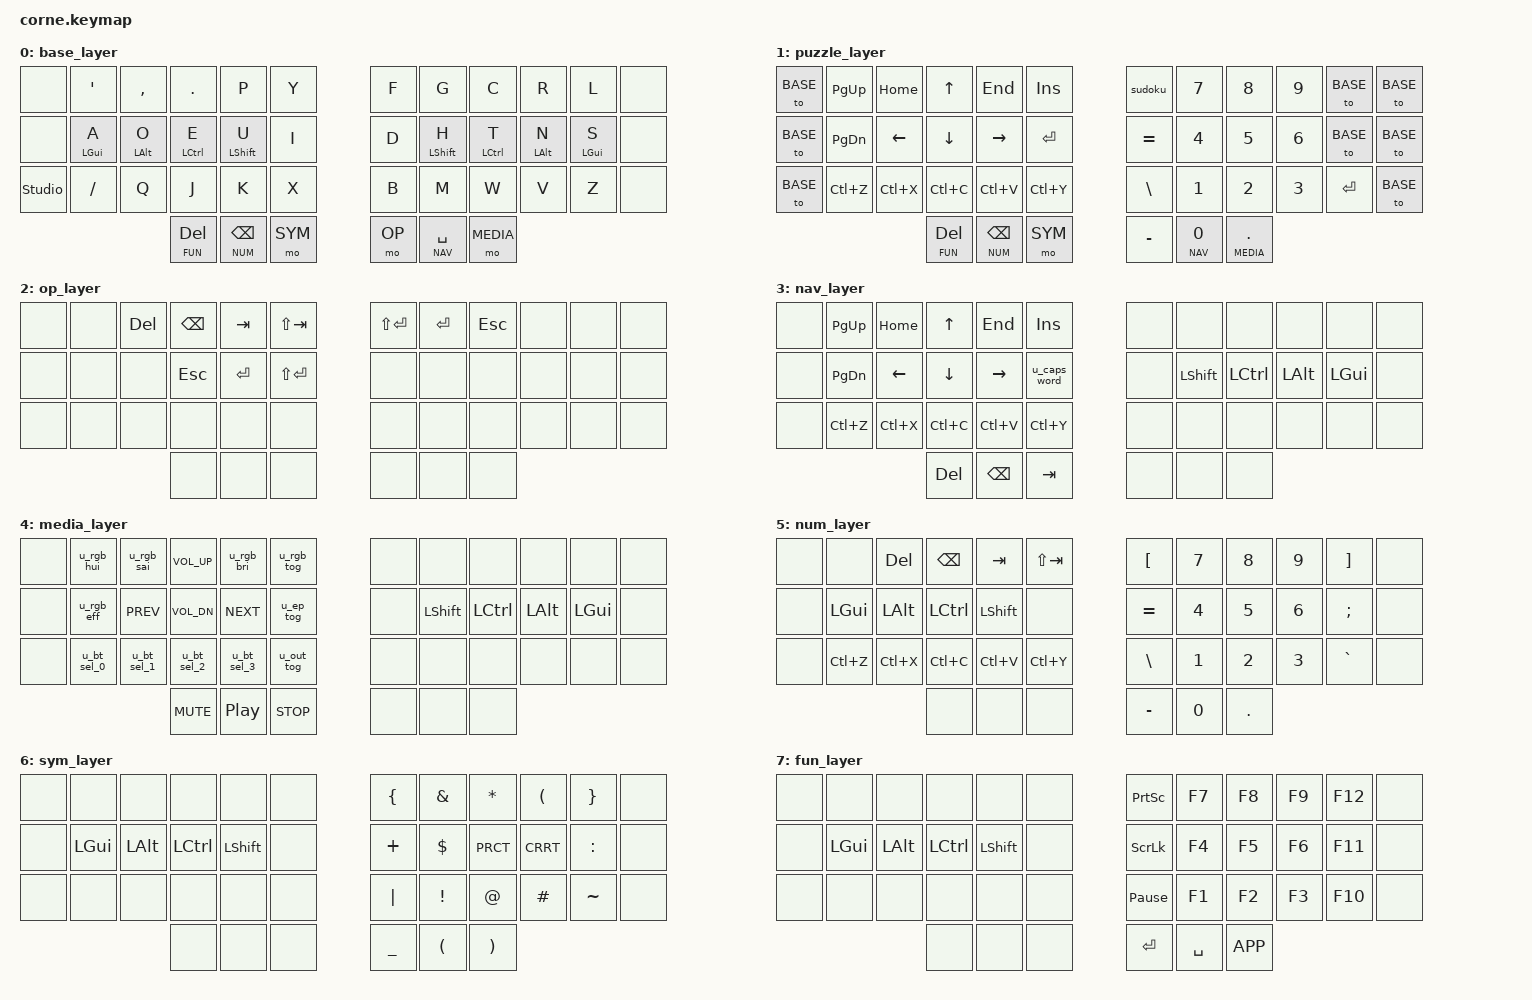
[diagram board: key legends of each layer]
#include <behaviors.dtsi>
#include <dt-bindings/zmk/keys.h>
#include <dt-bindings/zmk/bt.h>
#include <dt-bindings/zmk/rgb.h>
#include <dt-bindings/zmk/outputs.h>
#include <dt-bindings/zmk/ext_power.h>

#include "zmk-helpers/helper.h"
#include "zmk-helpers/key-labels/42.h"

/* layer and key shortcuts */

#define __ &none

#define BASE 0  // layer shortcuts, must match order in which they are defined below
#define PUZZLE 1
#define OP 2
#define NAV 3
#define MEDIA 4
#define NUM 5
#define SYM 6
#define FUN 7

/* custom behaviors */

#define KEYS_L LT0 LT1 LT2 LT3 LT4 LM0 LM1 LM2 LM3 LM4 LB0 LB1 LB2 LB3 LB4  // left-hand keys
#define KEYS_R RT0 RT1 RT2 RT3 RT4 RM0 RM1 RM2 RM3 RM4 RB0 RB1 RB2 RB3 RB4  // right-hand keys
#define THUMBS LH2 LH1 LH0 RH0 RH1 RH2                                      // thumb keys

#define MAKE_HRM(NAME, TRIGGER_POS, TAP_TERM) \
    ZMK_BEHAVIOR(NAME, hold_tap, \
        flavor = "balanced"; \
        tapping-term-ms = <TAP_TERM>; \
        require-prior-idle-ms = <150>; \
        bindings = <&kp>, <&kp>; \
        hold-trigger-key-positions = <TRIGGER_POS>; \
        hold-trigger-on-release; \
    )

MAKE_HRM(hml, KEYS_R THUMBS, 280)  // left-hand HRMs
MAKE_HRM(hmr, KEYS_L THUMBS, 280)  // right-hand HRMs
MAKE_HRM(hmlp, KEYS_R THUMBS, 320)  // left-hand pinky HRMs
MAKE_HRM(hmrp, KEYS_L THUMBS, 320)  // right-hand pinky HRMs

#define MAKE_HRM_HOLD(NAME, TRIGGER_POS, TAP_TERM) \
    ZMK_BEHAVIOR(NAME, hold_tap, \
        flavor = "balanced"; \
        tapping-term-ms = <TAP_TERM>; \
        require-prior-idle-ms = <150>; \
        bindings = <&kp>, <&kp>; \
        hold-trigger-key-positions = <TRIGGER_POS>; \
        hold-trigger-on-release; \
        hold-while-undecided; \
    )

MAKE_HRM_HOLD(hmlh, KEYS_R THUMBS, 280)  // left-hand HRMs
MAKE_HRM_HOLD(hmrh, KEYS_L THUMBS, 280)  // right-hand HRMs


#define MIRYOKU_SHIFT_FUNCTION(NAME, BINDING, SHIFT_BINDING) \
    ZMK_BEHAVIOR(NAME, mod_morph, \
        bindings = <BINDING>, <SHIFT_BINDING>; \
        mods = <(MOD_LSFT|MOD_RSFT)>; \
    )
MIRYOKU_SHIFT_FUNCTION(u_out_tog, &out OUT_TOG, &out OUT_USB)

#define MIRYOKU_SHIFT_MACRO(NAME, BINDING, SHIFT_BINDING) \
    ZMK_BEHAVIOR(u_macro_ ## NAME, macro, \
        wait-ms = <0>; \
        bindings = <SHIFT_BINDING>; \
    ) \
    MIRYOKU_SHIFT_FUNCTION(NAME, BINDING, &u_macro_ ## NAME)

MIRYOKU_SHIFT_MACRO(u_bt_sel_0, &bt BT_SEL 0, &bt BT_SEL 0 &bt BT_CLR)
MIRYOKU_SHIFT_MACRO(u_bt_sel_1, &bt BT_SEL 1, &bt BT_SEL 1 &bt BT_CLR)
MIRYOKU_SHIFT_MACRO(u_bt_sel_2, &bt BT_SEL 2, &bt BT_SEL 2 &bt BT_CLR)
MIRYOKU_SHIFT_MACRO(u_bt_sel_3, &bt BT_SEL 3, &bt BT_SEL 3 &bt BT_CLR)
MIRYOKU_SHIFT_MACRO(u_bt_sel_4, &bt BT_SEL 4, &bt BT_SEL 4 &bt BT_CLR)

MIRYOKU_SHIFT_FUNCTION(u_out_tog, &out OUT_TOG, &out OUT_USB)

MIRYOKU_SHIFT_FUNCTION(u_caps_word, &caps_word, &kp CAPS)

MIRYOKU_SHIFT_FUNCTION(u_rgb_tog, &rgb_ug RGB_TOG, &rgb_ug RGB_OFF)
MIRYOKU_SHIFT_FUNCTION(u_rgb_eff, &rgb_ug RGB_EFF, &rgb_ug RGB_EFR)
MIRYOKU_SHIFT_FUNCTION(u_rgb_hui, &rgb_ug RGB_HUI, &rgb_ug RGB_HUD)
MIRYOKU_SHIFT_FUNCTION(u_rgb_sai, &rgb_ug RGB_SAI, &rgb_ug RGB_SAD)
MIRYOKU_SHIFT_FUNCTION(u_rgb_bri, &rgb_ug RGB_BRI, &rgb_ug RGB_BRD)
MIRYOKU_SHIFT_FUNCTION(u_ep_tog, &ext_power EP_TOG, &ext_power EP_OFF)

/* combos */
#undef COMBO_TERM
#define COMBO_TERM 40  // timeout of 40ms (default is 30ms if omitted)
ZMK_COMBO(puzzle_layer, &to PUZZLE, RT0 RT1, BASE)


/* macros */
ZMK_MACRO(sudoku, bindings = <&macro_tap &kp NUM_1 &kp NUM_2 &kp NUM_3 &kp NUM_4 &kp NUM_5 &kp NUM_6 &kp NUM_7 &kp NUM_8 &kp NUM_9>;)


ZMK_LAYER(base_layer,
// ╭───┬────────────┬────────────┬─────────────┬─────────────┬────────╮  ╭────────────┬─────────────┬─────────────┬────────────┬────────────┬───╮
    __  &kp SQT      &kp COMMA    &kp DOT       &kp P         &kp Y       &kp F        &kp G         &kp C         &kp R        &kp L        __
// ├───┼────────────┼────────────┼─────────────┼─────────────┼────────┤  ├────────────┼─────────────┼─────────────┼────────────┼────────────┼───┤
    __  &hmlp LGUI A  &hml LALT O  &hmlh LCTRL E  &hmlh LSHFT U  &kp I      &kp D        &hmrh LSHFT H  &hmrh LCTRL T  &hmr LALT N  &hmrp LGUI S  __
// ├───┼────────────┼────────────┼─────────────┼─────────────┼────────┤  ├────────────┼─────────────┼─────────────┼────────────┼────────────┼───┤
    &studio_unlock  &kp SLASH  &kp Q  &kp J     &kp K         &kp X       &kp B        &kp M         &kp W         &kp V        &kp Z        __
// ╰───┴────────────┴────────────┼─────────────┼─────────────┼────────┤  ├────────────┼─────────────┼─────────────┼────────────┴────────────┴───╯
                                  &lt FUN DEL   &lt NUM BKSP  &mo SYM     &mo OP       &lt NAV SPC   &mo MEDIA
//                               ╰─────────────┴─────────────┴────────╯  ╰────────────┴─────────────┴─────────────╯
)


ZMK_LAYER(puzzle_layer,
// ╭───┬────────────┬────────────┬─────────────┬─────────────┬────────╮  ╭────────────┬─────────────┬─────────────┬────────────┬────────────┬───╮
    &to BASE  &kp PG_UP  &kp HOME   &kp UP     &kp END    &kp INS         &sudoku   &kp NUM_7  &kp NUM_8  &kp NUM_9  &to BASE   &to BASE
// ├───┼────────────┼────────────┼─────────────┼─────────────┼────────┤  ├────────────┼─────────────┼─────────────┼────────────┼────────────┼───┤
    &to BASE  &kp PG_DN  &kp LEFT   &kp DOWN   &kp RIGHT  &kp RET         &kp EQL    &kp NUM_4  &kp NUM_5  &kp NUM_6  &to BASE &to BASE
// ├───┼────────────┼────────────┼─────────────┼─────────────┼────────┤  ├────────────┼─────────────┼─────────────┼────────────┼────────────┼───┤
    &to BASE  &kp LC(Z)  &kp LC(X)  &kp LC(C)  &kp LC(V)  &kp LC(Y)       &kp BSLH   &kp NUM_1  &kp NUM_2  &kp NUM_3  &kp RET  &to BASE
// ╰───┴────────────┴────────────┼─────────────┼─────────────┼────────┤  ├────────────┼─────────────┼─────────────┼────────────┴────────────┴───╯
                                  &lt FUN DEL   &lt NUM BKSP  &mo SYM     &kp MINUS  &lt NAV NUM_0   &lt MEDIA DOT
//                               ╰─────────────┴─────────────┴────────╯  ╰────────────┴─────────────┴─────────────╯
)

ZMK_LAYER(op_layer,
// ╭───┬──────────┬──────────┬──────────┬──────────┬─────────────╮  ╭────────────┬──────────┬──────────┬─────────┬─────────┬───╮
    __  __         &kp DEL    &kp BKSP   &kp TAB    &kp LS(TAB)      &kp LS(RET)  &kp RET    &kp ESC    __        __        __
// ├───┼──────────┼──────────┼──────────┼──────────┼─────────────┤  ├────────────┼──────────┼──────────┼─────────┼─────────┼───┤
    __  __         __         &kp ESC   &kp RET    &kp LS(RET)       __           __         __         __        __        __
// ├───┼──────────┼──────────┼──────────┼──────────┼─────────────┤  ├────────────┼──────────┼──────────┼─────────┼─────────┼───┤
    __  __         __         __         __         __               __           __         __         __        __        __
// ╰───┴──────────┴──────────┼──────────┼──────────┼─────────────┤  ├────────────┼──────────┼──────────┼─────────┴─────────┴───╯
                              __         __         __               __           __         __
//                           ╰──────────┴──────────┴─────────────╯  ╰────────────┴──────────┴──────────╯
)

ZMK_LAYER(nav_layer,
// ╭───┬──────────┬──────────┬──────────┬──────────┬─────────────╮  ╭────────────┬──────────┬──────────┬─────────┬─────────┬───╮
    __  &kp PG_UP  &kp HOME   &kp UP     &kp END    &kp INS          __           __         __         __        __        __
// ├───┼──────────┼──────────┼──────────┼──────────┼─────────────┤  ├────────────┼──────────┼──────────┼─────────┼─────────┼───┤
    __  &kp PG_DN  &kp LEFT   &kp DOWN   &kp RIGHT  &u_caps_word     __           &kp LSHFT  &kp LCTRL  &kp LALT  &kp LGUI  __
// ├───┼──────────┼──────────┼──────────┼──────────┼─────────────┤  ├────────────┼──────────┼──────────┼─────────┼─────────┼───┤
    __  &kp LC(Z)  &kp LC(X)  &kp LC(C)  &kp LC(V)  &kp LC(Y)        __           __         __         __        __        __
// ╰───┴──────────┴──────────┼──────────┼──────────┼─────────────┤  ├────────────┼──────────┼──────────┼─────────┴─────────┴───╯
                              &kp DEL    &kp BSPC   &kp TAB          __           __         __
//                           ╰──────────┴──────────┴─────────────╯  ╰────────────┴──────────┴──────────╯
)

ZMK_LAYER(media_layer,
// ╭───┬────────────┬────────────┬─────────────┬────────────┬───────────╮  ╭───┬──────────┬──────────┬─────────┬─────────┬───╮
    __  &u_rgb_hui   &u_rgb_sai   &kp C_VOL_UP  &u_rgb_bri   &u_rgb_tog     __  __         __         __        __        __
// ├───┼────────────┼────────────┼─────────────┼────────────┼───────────┤  ├───┼──────────┼──────────┼─────────┼─────────┼───┤
    __  &u_rgb_eff   &kp C_PREV   &kp C_VOL_DN  &kp C_NEXT   &u_ep_tog      __  &kp LSHFT  &kp LCTRL  &kp LALT  &kp LGUI  __
// ├───┼────────────┼────────────┼─────────────┼────────────┼───────────┤  ├───┼──────────┼──────────┼─────────┼─────────┼───┤
    __  &u_bt_sel_0  &u_bt_sel_1  &u_bt_sel_2   &u_bt_sel_3  &u_out_tog     __  __         __         __        __        __
// ╰───┴────────────┴────────────┼─────────────┼────────────┼───────────┤  ├───┼──────────┼──────────┼─────────┴─────────┴───╯
                                  &kp C_MUTE    &kp C_PP     &kp C_STOP     __  __         __
//                               ╰─────────────┴────────────┴───────────╯  ╰───┴──────────┴──────────╯
)

ZMK_LAYER(num_layer,
// ╭───┬─────────┬─────────┬──────────┬──────────┬────────────╮  ╭──────────┬──────────┬──────────┬──────────┬──────────┬───╮
    __  __        &kp DEL   &kp BKSP   &kp TAB    &kp LS(TAB)     &kp LBKT   &kp NUM_7  &kp NUM_8  &kp NUM_9  &kp RBKT   __
// ├───┼─────────┼─────────┼──────────┼──────────┼────────────┤  ├──────────┼──────────┼──────────┼──────────┼──────────┼───┤
    __  &kp LGUI  &kp LALT  &kp LCTRL  &kp LSHFT  __              &kp EQL    &kp NUM_4  &kp NUM_5  &kp NUM_6  &kp SEMI   __
// ├───┼─────────┼─────────┼──────────┼──────────┼────────────┤  ├──────────┼──────────┼──────────┼──────────┼──────────┼───┤
    __  &kp LC(Z)  &kp LC(X)  &kp LC(C)  &kp LC(V)  &kp LC(Y)     &kp BSLH   &kp NUM_1  &kp NUM_2  &kp NUM_3  &kp GRAVE  __
// ╰───┴─────────┴─────────┼──────────┼──────────┼────────────┤  ├──────────┼──────────┼──────────┼──────────┴──────────┴───╯
                            __         __         __              &kp MINUS  &kp NUM_0  &kp DOT
//                         ╰──────────┴──────────┴────────────╯  ╰──────────┴──────────┴──────────╯
)

ZMK_LAYER(sym_layer,
// ╭───┬─────────┬─────────┬──────────┬──────────┬───╮  ╭──────────┬─────────┬──────────┬─────────┬──────────┬───╮
    __  __        __        __         __         __     &kp LBRC   &kp AMPS  &kp ASTRK  &kp LPAR  &kp RBRC   __
// ├───┼─────────┼─────────┼──────────┼──────────┼───┤  ├──────────┼─────────┼──────────┼─────────┼──────────┼───┤
    __  &kp LGUI  &kp LALT  &kp LCTRL  &kp LSHFT  __     &kp PLUS   &kp DLLR  &kp PRCT   &kp CRRT  &kp COLON  __
// ├───┼─────────┼─────────┼──────────┼──────────┼───┤  ├──────────┼─────────┼──────────┼─────────┼──────────┼───┤
    __  __        __        __         __         __     &kp PIPE   &kp EXCL  &kp AT     &kp HASH  &kp TILDE  __
// ╰───┴─────────┴─────────┼──────────┼──────────┼───┤  ├──────────┼─────────┼──────────┼─────────┴──────────┴───╯
                            __         __         __     &kp UNDER  &kp LPAR  &kp RPAR
//                         ╰──────────┴──────────┴───╯  ╰──────────┴─────────┴──────────╯
)

ZMK_LAYER(fun_layer,
// ╭───┬─────────┬─────────┬──────────┬──────────┬───╮  ╭────────────────┬────────┬──────────┬───────┬────────┬───╮
    __  __        __        __         __         __     &kp PSCRN        &kp F7   &kp F8     &kp F9  &kp F12  __
// ├───┼─────────┼─────────┼──────────┼──────────┼───┤  ├────────────────┼────────┼──────────┼───────┼────────┼───┤
    __  &kp LGUI  &kp LALT  &kp LCTRL  &kp LSHFT  __     &kp SLCK         &kp F4   &kp F5     &kp F6  &kp F11  __
// ├───┼─────────┼─────────┼──────────┼──────────┼───┤  ├────────────────┼────────┼──────────┼───────┼────────┼───┤
    __  __        __        __         __         __     &kp PAUSE_BREAK  &kp F1   &kp F2     &kp F3  &kp F10  __
// ╰───┴─────────┴─────────┼──────────┼──────────┼───┤  ├────────────────┼────────┼──────────┼───────┴────────┴───╯
                            __         __         __     &kp RET          &kp SPC  &kp K_APP
//                         ╰──────────┴──────────┴───╯  ╰────────────────┴────────┴──────────╯
)

